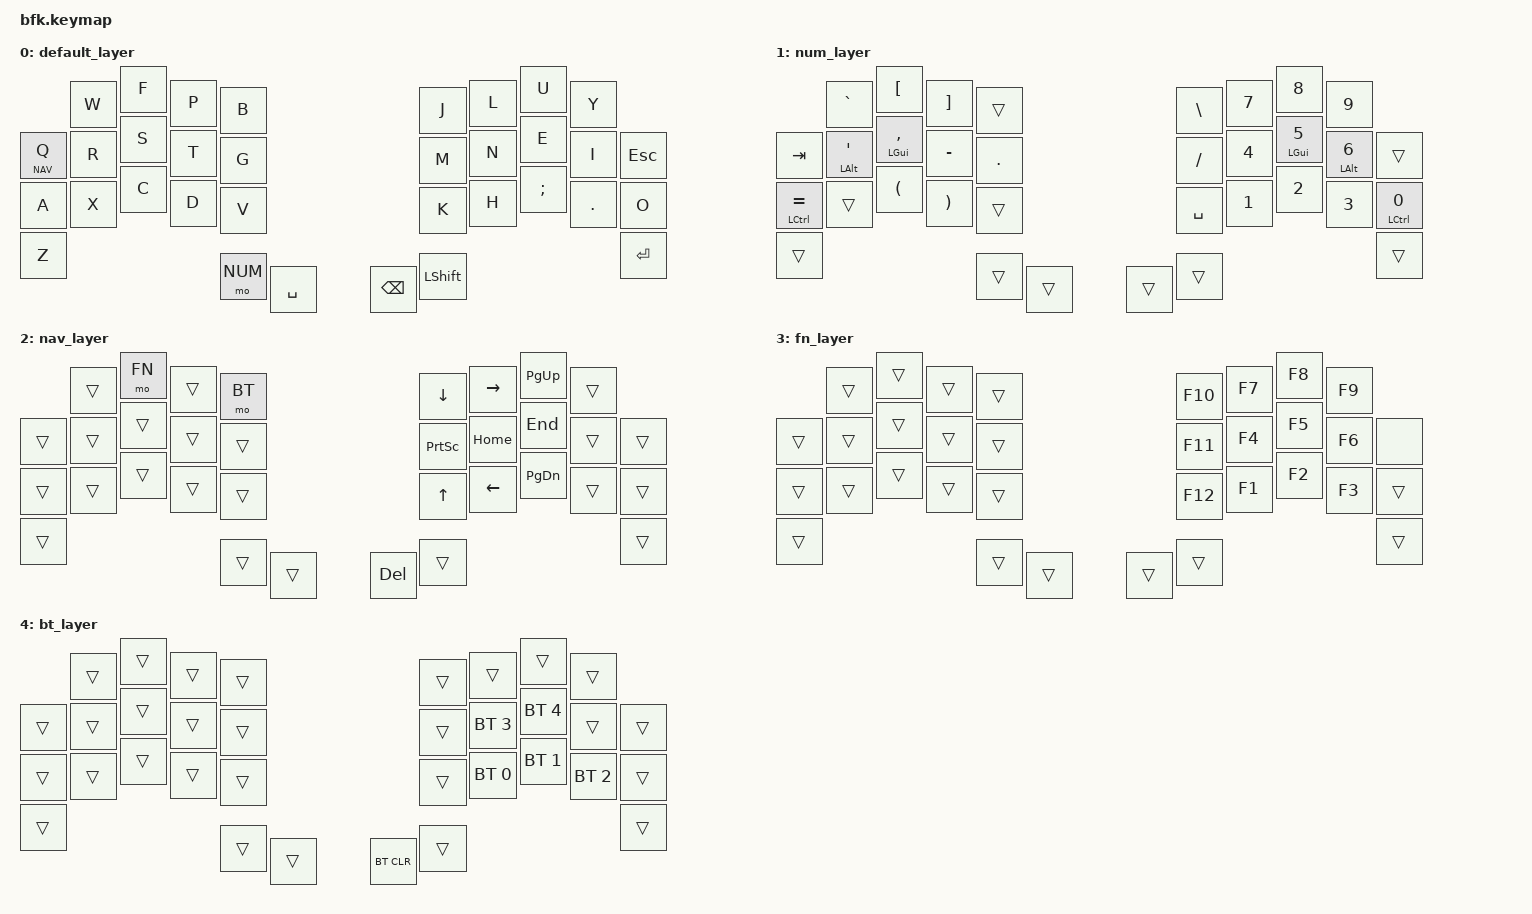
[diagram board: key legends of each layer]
#include <behaviors.dtsi>
#include <dt-bindings/zmk/keys.h>
#include <dt-bindings/zmk/bt.h>

#define DEFAULT 0
#define NUM 1
#define NAV 2
#define FN 3
#define BT 4

// #define HRL(a,b,c) (&mt LCTRL a &mt LALT b &mt LGUI c)
// #define HRR(a,b,c) (&mt LGUI a &mt LALT b &mt LCTRL c)

/ {
    keymap {
        compatible = "zmk,keymap";

        default_layer {
            bindings = <
                &lt NAV Q  &kp W  &kp F  &kp P    &kp B            &kp J      &kp L  &kp U     &kp Y    &kp ESC
                &kp A      &kp R  &kp S  &kp T    &kp G            &kp M      &kp N  &kp E     &kp I    &kp O
                &kp Z      &kp X  &kp C  &kp D    &kp V            &kp K      &kp H  &kp SCLN  &kp DOT  &kp RET
                                         &mo NUM  &kp SPACE        &kp BSPC   &kp LSHIFT
            >;
        };

        num_layer {
            bindings = <
                &kp TAB         &kp GRAVE     &kp LBKT       &kp RBKT   &trans         &kp BSLH   &kp N7  &kp N8      &kp N9      &trans
                &mt LCTRL EQUAL &mt LALT APOS &mt LGUI COMMA &kp MINUS  &kp DOT        &kp SLASH  &kp N4  &mt LGUI N5 &mt LALT N6 &mt LCTRL N0
                &trans          &trans        &kp LPAR       &kp RPAR   &trans         &kp SPACE  &kp N1  &kp N2      &kp N3      &trans
                                                             &trans     &trans         &trans     &trans
            >;
        };

        nav_layer {
            bindings = <
                &trans  &trans  &mo FN  &trans  &mo BT       &kp DOWN   &kp RIGHT  &kp PG_UP  &trans  &trans
                &trans  &trans  &trans  &trans  &trans       &kp PSCRN  &kp HOME   &kp END    &trans  &trans
                &trans  &trans  &trans  &trans  &trans       &kp UP     &kp LEFT   &kp PG_DN  &trans  &trans
                                        &trans  &trans       &kp DEL    &trans
            >;
        };

        fn_layer {
            bindings = <
                &trans  &trans  &trans  &trans  &trans       &kp F10  &kp F7  &kp F8  &kp F9  &none
                &trans  &trans  &trans  &trans  &trans       &kp F11  &kp F4  &kp F5  &kp F6  &trans
                &trans  &trans  &trans  &trans  &trans       &kp F12  &kp F1  &kp F2  &kp F3  &trans
                                        &trans  &trans       &trans   &trans
            >;
        };

        bt_layer {
            bindings = <
                &trans  &trans  &trans  &trans  &trans        &trans      &trans        &trans        &trans        &trans
                &trans  &trans  &trans  &trans  &trans        &trans      &bt BT_SEL 3  &bt BT_SEL 4  &trans        &trans
                &trans  &trans  &trans  &trans  &trans        &trans      &bt BT_SEL 0  &bt BT_SEL 1  &bt BT_SEL 2  &trans
                                        &trans  &trans        &bt BT_CLR  &trans
            >;
        };
    };
};

